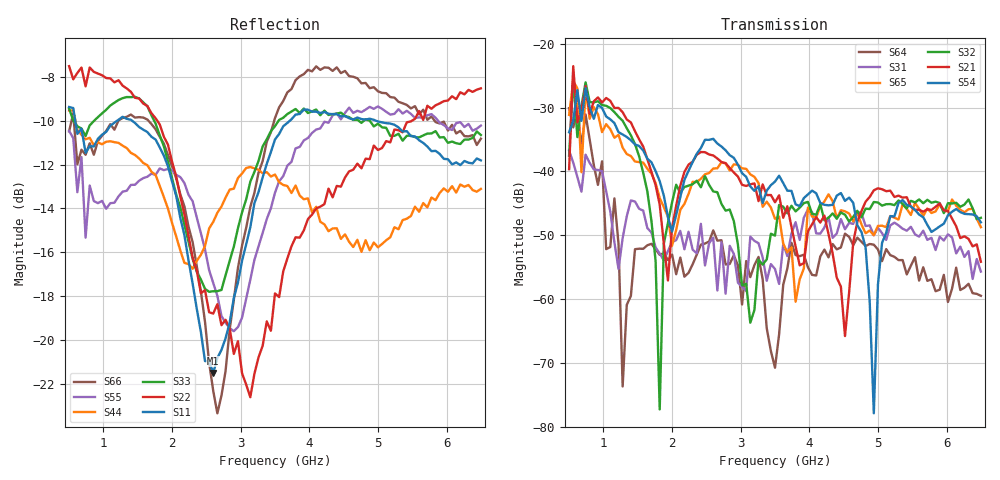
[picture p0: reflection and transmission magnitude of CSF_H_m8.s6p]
!Keysight Technologies,M9804A,MY58100912,A.14.10.03
!Date: Thursday, April 27, 2023 10:28:33
!Correction: S11(C  6-Port  )
!S12(C  6-Port  )
!S13(C  6-Port  )
!S14(C  6-Port  )
!S15(C  6-Port  )
!S16(C  6-Port  )
!S21(C  6-Port  )
!S22(C  6-Port  )
!S23(C  6-Port  )
!S24(C  6-Port  )
!S25(C  6-Port  )
!S26(C  6-Port  )
!S31(C  6-Port  )
!S32(C  6-Port  )
!S33(C  6-Port  )
!S34(C  6-Port  )
!S35(C  6-Port  )
!S36(C  6-Port  )
!S41(C  6-Port  )
!S42(C  6-Port  )
!S43(C  6-Port  )
!S44(C  6-Port  )
!S45(C  6-Port  )
!S46(C  6-Port  )
!S51(C  6-Port  )
!S52(C  6-Port  )
!S53(C  6-Port  )
!S54(C  6-Port  )
!S55(C  6-Port  )
!S56(C  6-Port  )
!S61(C  6-Port  )
!S62(C  6-Port  )
!S63(C  6-Port  )
!S64(C  6-Port  )
!S65(C  6-Port  )
!S66(C  6-Port  )
!S6P File: Measurement: :
# Hz S  RI  R 50
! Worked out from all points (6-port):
!   101 points, 500 MHz to 6.5 GHz, reference 50 ohm
!   strongest paths, dB at 500 MHz, 2 GHz, 3.5 GHz, 5 GHz, 6.5 GHz:
!     S54: -33.9, -49.4, -41.6, -57.7, -48.0
!     S21: -39.6, -48.8, -44.8, -42.6, -54.2
!     S32: -37.5, -44.9, -50.1, -44.9, -47.3
!     S65: -31.1, -51.7, -47.4, -48.5, -48.7
!     S31: -36.7, -51.1, -55.3, -48.9, -55.7
!     S64: -30.1, -53.0, -70.8, -52.2, -59.5
!   lowest |S11| = -21.5 dB at 2.6 GHz (marker M1), VSWR 1.18, Z = 42.5 + j2.18 ohm
!   |S11| at or under -10 dB: 589.7 MHz to 1.197 GHz (607.5 MHz wide, 68 % of centre); 1.421 GHz to 3.714 GHz (2.294 GHz wide, 89.3 % of centre); 4.977 GHz to end of sweep
